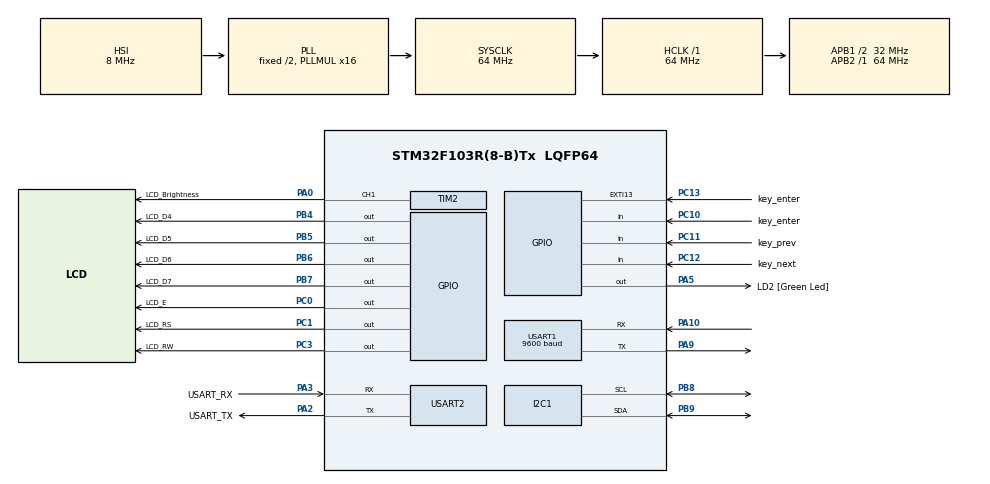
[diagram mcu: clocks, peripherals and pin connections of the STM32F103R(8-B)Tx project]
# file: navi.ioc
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Mcu.Family=STM32F1
Mcu.Name=STM32F103R(8-B)Tx
Mcu.Package=LQFP64
NVIC.EXTI15_10_IRQn=true\:0\:0\:false\:false\:true\:true\:true
NVIC.PriorityGroup=NVIC_PRIORITYGROUP_4
NVIC.TIM2_IRQn=true\:0\:0\:false\:false\:true\:true\:true
NVIC.TIM3_IRQn=true\:0\:0\:false\:false\:true\:true\:true
NVIC.USART1_IRQn=true\:0\:0\:false\:false\:true\:true\:true
NVIC.USART2_IRQn=true\:0\:0\:false\:false\:true\:true\:true
PA0-WKUP.GPIO_Label=LCD_Brightness
PA0-WKUP.Signal=S_TIM2_CH1_ETR
PA10.Mode=Asynchronous
PA10.Signal=USART1_RX
PA13.GPIO_Label=TMS
PA13.Mode=Serial_Wire
PA13.Signal=SYS_JTMS-SWDIO
PA14.GPIO_Label=TCK
PA14.Mode=Serial_Wire
PA14.Signal=SYS_JTCK-SWCLK
PA2.GPIO_Label=USART_TX
PA2.GPIO_Mode=GPIO_MODE_AF_PP
PA2.GPIO_PuPd=GPIO_NOPULL
PA2.GPIO_Speed=GPIO_SPEED_FREQ_LOW
PA2.Mode=Asynchronous
PA2.Signal=USART2_TX
PA3.GPIO_Label=USART_RX
PA3.GPIO_Mode=GPIO_MODE_AF_PP
PA3.GPIO_PuPd=GPIO_NOPULL
PA3.GPIO_Speed=GPIO_SPEED_FREQ_LOW
PA3.Mode=Asynchronous
PA3.Signal=USART2_RX
PA5.GPIO_Label=LD2 [Green Led]
PA5.GPIO_ModeDefaultOutputPP=GPIO_MODE_OUTPUT_PP
PA5.GPIO_PuPd=GPIO_NOPULL
PA5.GPIO_Speed=GPIO_SPEED_FREQ_LOW
PA5.Signal=GPIO_Output
PA9.Mode=Asynchronous
PA9.Signal=USART1_TX
PB3.GPIO_Label=SWO
PB3.Signal=SYS_JTDO-TRACESWO
PB4.GPIO_Label=LCD_D4
PB4.Signal=GPIO_Output
PB5.GPIO_Label=LCD_D5
PB5.Signal=GPIO_Output
PB6.GPIO_Label=LCD_D6
PB6.Signal=GPIO_Output
PB7.GPIO_Label=LCD_D7
PB7.Signal=GPIO_Output
PB8.Mode=I2C
PB8.Signal=I2C1_SCL
PB9.Mode=I2C
PB9.Signal=I2C1_SDA
PC0.GPIO_Label=LCD_E
PC0.Signal=GPIO_Output
PC1.GPIO_Label=LCD_RS
PC1.Signal=GPIO_Output
PC10.GPIO_Label=key_enter
PC10.Signal=GPIO_Input
PC11.GPIO_Label=key_prev
PC11.Signal=GPIO_Input
PC12.GPIO_Label=key_next
PC12.Signal=GPIO_Input
PC13-TAMPER-RTC.GPIO_Label=key_enter
PC13-TAMPER-RTC.GPIO_PuPd=GPIO_NOPULL
PC13-TAMPER-RTC.Signal=GPXTI13
PC14-OSC32_IN.Mode=LSE-External-Oscillator
PC14-OSC32_IN.Signal=RCC_OSC32_IN
PC15-OSC32_OUT.Mode=LSE-External-Oscillator
PC15-OSC32_OUT.Signal=RCC_OSC32_OUT
PC3.GPIO_Label=LCD_RW
PC3.Signal=GPIO_Output
PD0-OSC_IN.Mode=HSE-External-Clock-Source
PD0-OSC_IN.Signal=RCC_OSC_IN
PD1-OSC_OUT.Mode=HSE-External-Clock-Source
PD1-OSC_OUT.Signal=RCC_OSC_OUT
ProjectManager.HeapSize=0x200
ProjectManager.StackSize=0x400
ProjectManager.TargetToolchain=STM32CubeIDE
RCC.AHBFreq_Value=64000000
RCC.APB1CLKDivider=RCC_HCLK_DIV2
RCC.APB1Freq_Value=32000000
RCC.APB1TimFreq_Value=64000000
RCC.APB2Freq_Value=64000000
RCC.APB2TimFreq_Value=64000000
RCC.HCLKFreq_Value=64000000
RCC.PLLMUL=RCC_PLL_MUL16
RCC.RTCClockSelection=RCC_RTCCLKSOURCE_LSE
RCC.SYSCLKFreq_VALUE=64000000
RCC.SYSCLKSource=RCC_SYSCLKSOURCE_PLLCLK
RCC.USBFreq_Value=64000000
SH.S_TIM2_CH1_ETR.0=TIM2_CH1,PWM Generation1 CH1
TIM2.Channel-PWM\ Generation1\ CH1=TIM_CHANNEL_1
TIM2.Period=90
TIM2.Prescaler=2000
TIM3.Prescaler=63
USART1.BaudRate=9600
USART1.VirtualMode=VM_ASYNC
USART2.VirtualMode=VM_ASYNC
VP_TIM2_VS_ClockSourceINT.Mode=Internal
VP_TIM3_VS_ClockSourceINT.Mode=Internal
board=NUCLEO-F103RB

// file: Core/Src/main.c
/* USER CODE BEGIN Header */
/**
  ******************************************************************************
  * @file           : main.c
  * @brief          : Main program body
  ******************************************************************************
  * @attention
  *
  * Copyright (c) 2022 STMicroelectronics.
  * All rights reserved.
  *
  * This software is licensed under terms that can be found in the LICENSE file
  * in the root directory of this software component.
  * If no LICENSE file comes with this software, it is provided AS-IS.
  *
  ******************************************************************************
  */
/* USER CODE END Header */
#include "main.h"
#include "i2c.h"
#include "tim.h"
#include "usart.h"
#include "gpio.h"

/* USER CODE BEGIN Includes */
#include "HD44780.h"
#include "button.h"
#include "menu.h"
#include <string.h>
#include "hmc5883l.h"
#include "DHT11_sensor.h"
#include "GPS.h"
#include "stdio.h"
/* USER CODE END Includes */

/* USER CODE BEGIN PM */
buttonenter_t Enter;
buttonnext_t Next;
buttonprev_t Prev;
buttonback_t Back;

HMC5883L_t Hmc5883l;
DHT_DataTypedef DHT11_Data;
UART_HandleTypeDef huart1;
/* USER CODE END PM */

/* USER CODE BEGIN PV */
extern uint8_t PWM = 43;
uint8_t  i ;
float k ;
uint8_t Message[64];
uint8_t MessageLength;
/* USER CODE END PV */

void SystemClock_Config(void);

int main(void)
{

  /* MCU Configuration--------------------------------------------------------*/

  /* Reset of all peripherals, Initializes the Flash interface and the Systick. */
  HAL_Init();

  /* Configure the system clock */
  SystemClock_Config();

  /* Initialize all configured peripherals */
  MX_GPIO_Init();
  MX_USART2_UART_Init();
  MX_I2C1_Init();
  MX_TIM2_Init();
  MX_TIM3_Init();
  MX_USART1_UART_Init();
  /* USER CODE BEGIN 2 */
  HAL_TIM_Base_Start(&htim3);
  	LCD_Init();
  	menu_refresh();
  	ButtonEnterInitKey(&Enter, key_enter_GPIO_Port, key_enter_Pin, 15);
  	ButtonEnterPressCallback(&Enter,key_enter_press);

  	ButtonNextInitKey(&Next, GPIOC, key_next_Pin, 20);
  	ButtonNextPressCallback(&Next,key_next_press);

  	ButtonPrevInitKey(&Prev, GPIOC, key_prev_Pin, 20);
  	ButtonPrevPressCallback(&Prev,key_prev_press);

  	ButtonBackInitKey(&Back, GPIOC, key_enterC10_Pin, 20);
  	ButtonBackPressCallback(&Back,key_back_press);
  	HAL_TIM_PWM_Start(&htim2, TIM_CHANNEL_1);
  	__HAL_TIM_SET_COMPARE(&htim2,TIM_CHANNEL_1, PWM);  // od  1 do 35
  	HMC5883L_Init(&Hmc5883l, &hi2c1, HMC5883L_ADDRESS);
  	NEO6_Init(&GpsState, &huart1);
  	uint32_t Timer = HAL_GetTick();
  /* USER CODE END 2 */

  /* Infinite loop */
  while (1)
  {

    /* USER CODE BEGIN 3 */
	  /*
	 	  LCD_Cls();
	 	  	  LCD_Locate(7,0);
	 		if (HAL_GPIO_ReadPin(GPIOC, key_enterC10_Pin) == 0) {
	 			if (i >= 4 && i <= 13) {
	 				LCD_Locate(i, 1);
	 				//LCD_String("BBBB ");
	 				LCD_Char(0xff);
	 				i++;
	 			}
	 		}
	 */
	 	  NEO6_Task(&GpsState);

	 	 	  	  if((HAL_GetTick() - Timer) > 1000)
	 	 	  	  {
	 	 	  		  MessageLength = sprintf((char*)Message, "\033[2J\033[;H"); // Clear terminal and home cursor
	 	 	  		  HAL_UART_Transmit(&huart2, Message, MessageLength, 1000);

	 	 	  		  if(NEO6_IsFix(&GpsState))
	 	 	  		  {
	 	 	  			  MessageLength = sprintf((char*)Message, "UTC Time: %02d:%02d:%02d\n\r", GpsState.Hour, GpsState.Minute, GpsState.Second);
	 	 	  			  HAL_UART_Transmit(&huart2, Message, MessageLength, 1000);

	 	 	  			  MessageLength = sprintf((char*)Message, "Date: %02d.%02d.20%02d\n\r", GpsState.Day, GpsState.Month, GpsState.Year);
	 	 	  			  HAL_UART_Transmit(&huart2, Message, MessageLength, 1000);

	 	 	  			  MessageLength = sprintf((char*)Message, "Latitude: %.4f %c\n\r", GpsState.Latitude, GpsState.LatitudeDirection);
	 	 	  			  HAL_UART_Transmit(&huart2, Message, MessageLength, 1000);

	 	 	  			  MessageLength = sprintf((char*)Message, "Longitude: %.2f %c\n\r", GpsState.Longitude, GpsState.LongitudeDirection);
	 	 	  			  HAL_UART_Transmit(&huart2, Message, MessageLength, 1000);

	 	 	  			  MessageLength = sprintf((char*)Message, "Altitude: %.2f m above sea level\n\r", GpsState.Altitude);
	 	 	  			  HAL_UART_Transmit(&huart2, Message, MessageLength, 1000);

	 	 	  			  MessageLength = sprintf((char*)Message, "Speed: %.2f knots, %f km/h\n\r", GpsState.SpeedKnots, GpsState.SpeedKilometers);
	 	 	  			  HAL_UART_Transmit(&huart2, Message, MessageLength, 1000);

	 	 	  			  MessageLength = sprintf((char*)Message, "Satelites: %d\n\r", GpsState.SatelitesNumber);
	 	 	  			  HAL_UART_Transmit(&huart2, Message, MessageLength, 1000);

	 	 	  			  MessageLength = sprintf((char*)Message, "Dilution of precision: %.2f\n\r", GpsState.Dop);
	 	 	  			  HAL_UART_Transmit(&huart2, Message, MessageLength, 1000);

	 	 	  			  MessageLength = sprintf((char*)Message, "Horizontal dilution of precision: %.2f\n\r", GpsState.Hdop);
	 	 	  			  HAL_UART_Transmit(&huart2, Message, MessageLength, 1000);

	 	 	  			  MessageLength = sprintf((char*)Message, "Vertical dilution of precision: %.2f\n\r", GpsState.Vdop);
	 	 	  			  HAL_UART_Transmit(&huart2, Message, MessageLength, 1000);
	 	 	  		  }
	 	 	  		  else
	 	 	  		  {
	 	 	  			  MessageLength = sprintf((char*)Message, "No Fix\n\r");
	 	 	  			  HAL_UART_Transmit(&huart2, Message, MessageLength, 1000);
	 	 	  		  }

	 	 	  		  Timer = HAL_GetTick();
	 	 	  	  }

	 	  ButtonEnterTask(&Enter);
	 	  ButtonNextTask(&Next);
	 	  ButtonPrevTask(&Prev);
	 	  ButtonBackTask(&Back);

	 /*
	 		key_next_press();
	 		key_prev_press();
	 		key_enter_press();
	 		key_back_press();
	 		*/
	 	  	  // Measurement end
	 	  	  HAL_GPIO_TogglePin(LD2_GPIO_Port, LD2_Pin);
	 	  	  HAL_Delay(100);
	   }
  }
  /* USER CODE END 3 */

void SystemClock_Config(void)
{
  RCC_OscInitTypeDef RCC_OscInitStruct = {0};
  RCC_ClkInitTypeDef RCC_ClkInitStruct = {0};

  /** Initializes the RCC Oscillators according to the specified parameters
  * in the RCC_OscInitTypeDef structure.
  */
  RCC_OscInitStruct.OscillatorType = RCC_OSCILLATORTYPE_HSI;
  RCC_OscInitStruct.HSIState = RCC_HSI_ON;
  RCC_OscInitStruct.HSICalibrationValue = RCC_HSICALIBRATION_DEFAULT;
  RCC_OscInitStruct.PLL.PLLState = RCC_PLL_ON;
  RCC_OscInitStruct.PLL.PLLSource = RCC_PLLSOURCE_HSI_DIV2;
  RCC_OscInitStruct.PLL.PLLMUL = RCC_PLL_MUL16;
  if (HAL_RCC_OscConfig(&RCC_OscInitStruct) != HAL_OK)
  {
    Error_Handler();
  }
  /** Initializes the CPU, AHB and APB buses clocks
  */
  RCC_ClkInitStruct.ClockType = RCC_CLOCKTYPE_HCLK|RCC_CLOCKTYPE_SYSCLK
                              |RCC_CLOCKTYPE_PCLK1|RCC_CLOCKTYPE_PCLK2;
  RCC_ClkInitStruct.SYSCLKSource = RCC_SYSCLKSOURCE_PLLCLK;
  RCC_ClkInitStruct.AHBCLKDivider = RCC_SYSCLK_DIV1;
  RCC_ClkInitStruct.APB1CLKDivider = RCC_HCLK_DIV2;
  RCC_ClkInitStruct.APB2CLKDivider = RCC_HCLK_DIV1;

  if (HAL_RCC_ClockConfig(&RCC_ClkInitStruct, FLASH_LATENCY_2) != HAL_OK)
  {
    Error_Handler();
  }
}

/* USER CODE BEGIN 4 */
void HAL_UART_RxCpltCallback(UART_HandleTypeDef *huart)
{
	if(huart == GpsState.neo6_huart)
	{
		NEO6_ReceiveUartChar(&GpsState);
	}
}
/* USER CODE END 4 */

void Error_Handler(void)
{
  __disable_irq();
  while (1)
  {
  }
}
